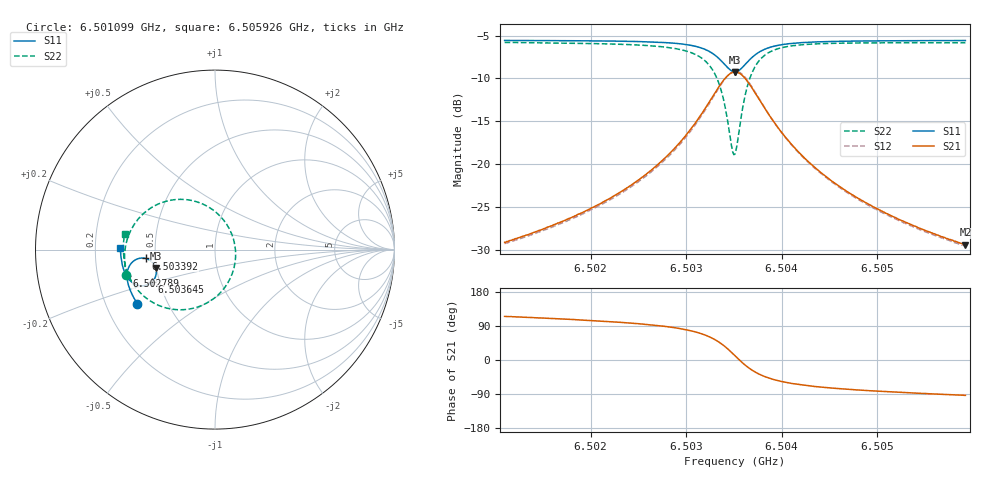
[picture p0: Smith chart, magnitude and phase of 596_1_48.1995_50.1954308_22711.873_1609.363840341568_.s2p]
#  HZ  S  RI  R  50.00
! Rohde & Schwarz Vector Network Analyzer
! Rohde-Schwarz,ZNB20-2Port,1311601062101988,3.16
! Created: UTC 3/20/2024, 12:02:48 PM
! freq[Hz]  re:S11  im:S11  re:S21  im:S21  re:S12  im:S12  re:S22  im:S22
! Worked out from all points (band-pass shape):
!   401 points, 6.501099 GHz to 6.505926 GHz, reference 50 ohm
!   highest |S21| = -9.24 dB at 6.503513 GHz (marker M1); lowest = -29.4 dB at 6.505926 GHz (marker M2)
!   |S21| within 3 dB of the highest: 6.503272 GHz to 6.503754 GHz (482.2 kHz wide, 0.00741 % of centre)
!   lowest |S11| = -9.2 dB at 6.503513 GHz (marker M3), VSWR 2.06, Z = 24.7 - j5.72 ohm
!   |S11| at or under -10 dB: nowhere
!   |S22| runs from -18.9 to -5.8 dB; largest |S21 - S12| = 0.012
!   S11 on the Smith chart (normalised r, x): 6.501099 GHz: 0.34, -0.28; 6.502789 GHz: 0.33, -0.13; 6.503392 GHz: 0.44, -0.05; 6.503645 GHz: 0.45, -0.19; 6.505926 GHz: 0.31, +0.01
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6.5010995e9  -0.433 -0.3005  -0.0148 0.0316  -0.013 0.0317  -0.4932 -0.1424
6.5019079e9  -0.4667 -0.2395  -0.0139 0.05  -0.0115 0.0495  -0.5042 -0.0541
6.5023422e9  -0.4816 -0.2  -0.0109 0.0694  -0.00785 0.0683  -0.5 0.00966
6.5027162e9  -0.4898 -0.1575  -0.000945 0.1007  0.00254 0.0984  -0.4782 0.0875
6.5027886e9  -0.4902 -0.1476  0.00308 0.1096  0.00665 0.1069  -0.4692 0.1069
6.5029938e9  -0.4864 -0.1141  0.0248 0.1438  0.0284 0.1397  -0.424 0.1747
6.5031506e9  -0.4711 -0.0818  0.0648 0.1803  0.0676 0.1746  -0.346 0.2389
6.5032954e9  -0.4325 -0.052  0.148 0.2094  0.1485 0.2034  -0.195 0.28
6.5033437e9  -0.4109 -0.0472  0.1912 0.2079  0.1911 0.2026  -0.1191 0.2713
6.5033919e9  -0.3852 -0.0494  0.241 0.1926  0.2409 0.1884  -0.0342 0.2362
6.5034764e9  -0.3415 -0.0792  0.3205 0.1166  0.323 0.113  0.0931 0.087
6.5035126e9  -0.3303 -0.1018  0.3386 0.0671  0.3424 0.0621  0.1144 -0.00629
6.5035367e9  -0.3273 -0.1183  0.342 0.0318  0.3464 0.0255  0.1119 -0.0708
6.5035729e9  -0.3294 -0.143  0.3346 -0.0194  0.3385 -0.028  0.0842 -0.1615
6.5036453e9  -0.352 -0.181  0.287 -0.0972  0.2873 -0.1086  -0.0277 -0.2873
6.5037539e9  -0.3984 -0.2017  0.1981 -0.1433  0.1931 -0.1532  -0.2076 -0.335
6.5039107e9  -0.4465 -0.1924  0.1127 -0.1393  0.1057 -0.1446  -0.3614 -0.2857
6.5040797e9  -0.4749 -0.171  0.0663 -0.1179  0.0601 -0.1202  -0.4363 -0.2181
6.504321e9  -0.496 -0.1412  0.0352 -0.0921  0.0303 -0.0925  -0.4811 -0.1439
6.5046588e9  -0.511 -0.1049  0.0163 -0.0688  0.0128 -0.0685  -0.5034 -0.0721
6.5051294e9  -0.5212 -0.0602  0.00532 -0.0501  0.00302 -0.0495  -0.5107 -0.00199
6.5059257e9  -0.5265 0.00769  -0.00194 -0.0337  -0.00339 -0.033  -0.5038 0.0848
